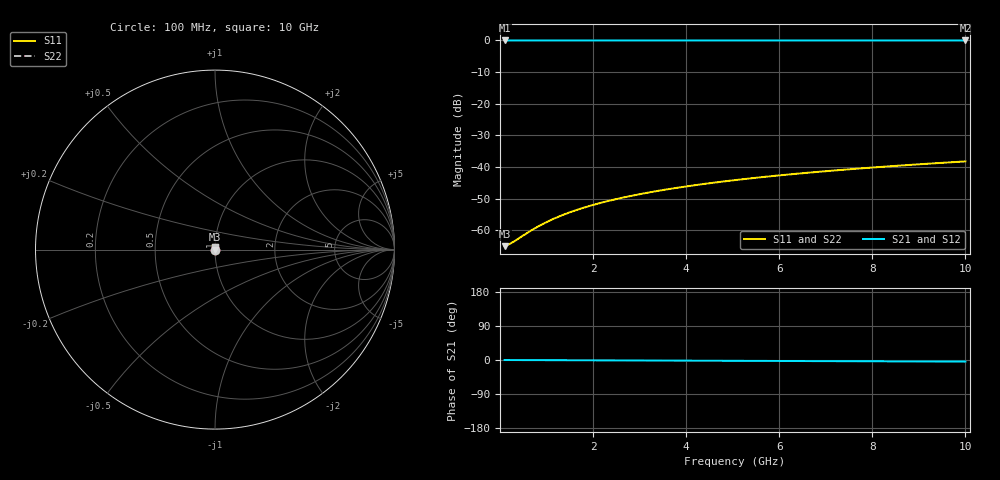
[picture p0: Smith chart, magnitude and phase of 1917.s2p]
# Hz S RI R 50.00
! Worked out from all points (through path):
!   100 points, 100 MHz to 10 GHz, reference 50 ohm
!   highest |S21| = 0.00 dB at 100 MHz (marker M1); lowest = 0.0 dB at 10 GHz (marker M2)
!   lowest |S11| = -65.0 dB at 100 MHz (marker M3), VSWR 1.00, Z = 50.1 + j0.0123 ohm
!   |S11| at or under -10 dB: start of sweep to end of sweep
!   |S22| runs from -65.0 to -38.2 dB; largest |S21 - S12| = 0
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1e8  0.000552 0.000123  0.9994 -0.000744  0.9994 -0.000744  0.000552 0.000123
2e8  0.000556 0.000245  0.9994 -0.00149  0.9994 -0.00149  0.000556 0.000245
3e8  0.000559 0.000368  0.9994 -0.00223  0.9994 -0.00223  0.000559 0.000368
7e8  0.000568 0.000859  0.9994 -0.00521  0.9994 -0.00521  0.000568 0.000859
8e8  0.000571 0.000982  0.9994 -0.00595  0.9994 -0.00595  0.000571 0.000982
1e9  0.000576 0.00123  0.9994 -0.00744  0.9994 -0.00744  0.000576 0.00123
1.2e9  0.000582 0.00147  0.9994 -0.00893  0.9994 -0.00893  0.000582 0.00147
1.4e9  0.000588 0.00172  0.9994 -0.0104  0.9994 -0.0104  0.000588 0.00172
1.6e9  0.000595 0.00196  0.9993 -0.0119  0.9993 -0.0119  0.000595 0.00196
1.8e9  0.000602 0.00221  0.9993 -0.0134  0.9993 -0.0134  0.000602 0.00221
2.1e9  0.000615 0.00258  0.9993 -0.0156  0.9993 -0.0156  0.000615 0.00258
2.5e9  0.000633 0.00307  0.9992 -0.0186  0.9992 -0.0186  0.000633 0.00307
2.9e9  0.000655 0.00356  0.9992 -0.0216  0.9992 -0.0216  0.000655 0.00356
3.4e9  0.000686 0.00417  0.9991 -0.0253  0.9991 -0.0253  0.000686 0.00417
3.8e9  0.000713 0.00466  0.999 -0.0283  0.999 -0.0283  0.000713 0.00466
4.2e9  0.000744 0.00515  0.9989 -0.0313  0.9989 -0.0313  0.000744 0.00515
5.1e9  0.000824 0.00625  0.9986 -0.038  0.9986 -0.038  0.000824 0.00625
5.9e9  0.000907 0.00722  0.9984 -0.0439  0.9984 -0.0439  0.000907 0.00722
6.7e9  0.001 0.0082  0.9981 -0.0499  0.9981 -0.0499  0.001 0.0082
7.5e9  0.00111 0.00918  0.9978 -0.0559  0.9978 -0.0559  0.00111 0.00918
8.4e9  0.00124 0.0103  0.9973 -0.0626  0.9973 -0.0626  0.00124 0.0103
1e10  0.00152 0.0122  0.9965 -0.0745  0.9965 -0.0745  0.00152 0.0122
